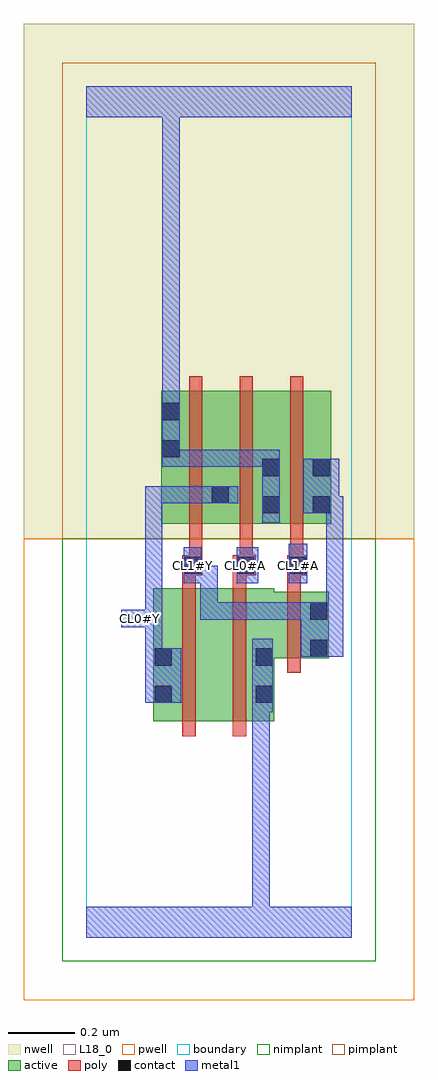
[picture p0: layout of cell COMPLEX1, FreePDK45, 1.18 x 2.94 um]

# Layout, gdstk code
import gdstk
lib = gdstk.Library(unit=1e-6, precision=1e-09)
def R(c, l, rs):  # rectangles x0, y0, x1, y1
    for r in rs: c.add(gdstk.rectangle(r[:2], r[2:], *l))
def A(c, l, x, y, w, h, nx, ny, dx, dy):  # array of equal rectangles
    R(c, l, [(x+i*dx, y+j*dy, x+i*dx+w, y+j*dy+h) for i in range(nx) for j in range(ny)])
active = (1, 0)
pwell = (2, 0)
nwell = (3, 0)
nimplant = (4, 0)
pimplant = (5, 0)
poly = (9, 0)
contact = (10, 0)
metal1 = (11, 0)
L18_0 = (18, 0)
boundary = (235, 0)

complex1 = lib.new_cell('COMPLEX1')
A(complex1, active, 0.374, 1.244, 0.06, 0.4, 3, 1, 0.152, 0)
R(complex1, active, [(0.202,0.65,0.386,1.05), (0.202,0.65,0.262,1.05), (0.386,0.65,0.566,1.05), (0.506,0.702,0.566,0.902), (0.506,0.84,0.73,1.04), (0.67,0.84,0.73,1.04), (0.226,1.244,0.286,1.644), (0.226,1.244,0.434,1.644), (0.374,1.244,0.586,1.644), (0.526,1.244,0.738,1.644)])
R(complex1, pwell, [(-0.188,-0.188,0.988,1.2)])
R(complex1, nwell, [(-0.188,1.2,0.988,2.748)])
R(complex1, nimplant, [(-0.072,-0.072,0.872,1.2)])
R(complex1, pimplant, [(-0.072,1.2,0.872,2.632)])
A(complex1, poly, 0.31, 1.11, 0.04, 0.13, 3, 1, 0.152, 0)
A(complex1, poly, 0.31, 1.2, 0.04, 0.488, 3, 1, 0.152, 0)
R(complex1, poly, [(0.29,0.606,0.33,1.094), (0.442,0.606,0.482,1.094), (0.606,0.796,0.646,1.084), (0.606,1.044,0.646,1.13), (0.29,1.054,0.33,1.13), (0.442,1.054,0.482,1.13), (0.29,1.09,0.35,1.15), (0.442,1.09,0.51,1.15), (0.606,1.09,0.666,1.15), (0.31,1.11,0.35,1.15), (0.31,1.11,0.35,1.15), (0.462,1.11,0.502,1.15), (0.462,1.11,0.502,1.15), (0.614,1.11,0.654,1.15), (0.614,1.11,0.654,1.15)])
R(complex1, contact, [(0.206,0.706,0.258,0.758), (0.51,0.706,0.562,0.758), (0.206,0.818,0.258,0.87), (0.51,0.818,0.562,0.87), (0.674,0.844,0.726,0.896), (0.674,0.956,0.726,1.008), (0.294,1.094,0.346,1.146), (0.454,1.094,0.506,1.146), (0.61,1.094,0.662,1.146), (0.53,1.276,0.582,1.328), (0.682,1.276,0.734,1.328), (0.378,1.306,0.43,1.358), (0.53,1.388,0.582,1.44), (0.682,1.388,0.734,1.44), (0.23,1.444,0.282,1.496), (0.23,1.556,0.282,1.608)])
R(complex1, metal1, [(0,0,0.8,0.092), (0.5,0.04,0.552,0.092), (0.5,0.04,0.552,0.092), (0.5,0.04,0.552,0.092), (0.5,0.04,0.552,0.092), (0.5,0.04,0.552,0.092), (0.5,0.04,0.552,0.092), (0.5,0.04,0.552,0.092), (0.5,0.04,0.552,0.092), (0.5,0.04,0.552,0.092), (0.5,0.04,0.552,0.092), (0.5,0.04,0.552,0.73), (0.5,0.678,0.552,0.73), (0.5,0.678,0.552,0.73), (0.5,0.678,0.562,0.898), (0.178,0.706,0.286,0.87), (0.178,0.818,0.23,0.986), (0.646,0.844,0.774,1.008), (0.106,0.934,0.23,0.986), (0.178,0.934,0.23,1.358), (0.344,0.956,0.396,1.008), (0.344,0.956,0.512,1.008), (0.344,0.956,0.396,1.118), (0.46,0.956,0.512,1.008), (0.46,0.956,0.512,1.008), (0.46,0.956,0.512,1.008), (0.46,0.956,0.698,1.008), (0.646,0.956,0.698,1.008), (0.646,0.956,0.698,1.008), (0.722,0.956,0.774,1.328), (0.294,1.066,0.396,1.118), (0.294,1.066,0.346,1.174), (0.344,1.066,0.396,1.118), (0.454,1.066,0.518,1.174), (0.61,1.066,0.666,1.184), (0.53,1.248,0.582,1.468), (0.654,1.276,0.762,1.44), (0.71,1.276,0.762,1.328), (0.71,1.276,0.774,1.328), (0.722,1.276,0.774,1.328), (0.722,1.276,0.774,1.328), (0.178,1.306,0.23,1.358), (0.178,1.306,0.23,1.358), (0.178,1.306,0.23,1.358), (0.178,1.306,0.402,1.358), (0.35,1.306,0.402,1.358), (0.35,1.306,0.402,1.358), (0.35,1.306,0.458,1.358), (0.23,1.416,0.282,1.636), (0.23,1.416,0.392,1.468), (0.34,1.416,0.392,1.468), (0.34,1.416,0.392,1.468), (0.34,1.416,0.392,1.468), (0.34,1.416,0.552,1.468), (0.5,1.416,0.552,1.468), (0.5,1.416,0.582,1.468), (0.23,1.584,0.282,1.636), (0.23,1.584,0.282,1.636), (0.23,1.584,0.282,1.636), (0.23,1.584,0.282,1.636), (0.23,1.584,0.282,1.636), (0.23,1.584,0.282,1.636), (0.23,1.584,0.282,1.636), (0.23,1.584,0.282,1.636), (0.23,1.584,0.282,1.636), (0.23,1.584,0.282,1.636), (0.23,1.584,0.282,1.636), (0.23,1.584,0.282,1.636), (0.23,1.584,0.282,1.636), (0.23,1.584,0.282,1.636), (0.23,1.584,0.282,2.52), (0,2.468,0.8,2.56), (0.23,2.468,0.282,2.52), (0.23,2.468,0.282,2.52)])
A(complex1, L18_0, 0.294, 1.094, 0.052, 0.052, 3, 1, 0.16, 0)
R(complex1, L18_0, [(0,0,0.8,0.092), (0.5,0.04,0.552,0.092), (0.5,0.04,0.552,0.092), (0.5,0.04,0.552,0.092), (0.5,0.04,0.552,0.092), (0.5,0.04,0.552,0.092), (0.5,0.04,0.552,0.092), (0.5,0.04,0.552,0.092), (0.5,0.04,0.552,0.092), (0.5,0.04,0.552,0.092), (0.5,0.04,0.552,0.092), (0.5,0.04,0.552,0.73), (0.5,0.678,0.552,0.73), (0.5,0.678,0.552,0.73), (0.5,0.678,0.562,0.898), (0.178,0.706,0.286,0.87), (0.178,0.818,0.23,0.986), (0.646,0.844,0.774,1.008), (0.106,0.934,0.23,0.986), (0.134,0.934,0.186,0.986), (0.178,0.934,0.23,1.358), (0.344,0.956,0.396,1.008), (0.344,0.956,0.396,1.118), (0.344,0.956,0.512,1.008), (0.46,0.956,0.512,1.008), (0.46,0.956,0.512,1.008), (0.46,0.956,0.512,1.008), (0.46,0.956,0.698,1.008), (0.646,0.956,0.698,1.008), (0.646,0.956,0.698,1.008), (0.722,0.956,0.774,1.328), (0.294,1.066,0.346,1.174), (0.294,1.066,0.396,1.118), (0.344,1.066,0.396,1.118), (0.454,1.066,0.518,1.174), (0.61,1.066,0.666,1.184), (0.53,1.248,0.582,1.468), (0.654,1.276,0.762,1.44), (0.71,1.276,0.762,1.328), (0.71,1.276,0.774,1.328), (0.722,1.276,0.774,1.328), (0.722,1.276,0.774,1.328), (0.178,1.306,0.23,1.358), (0.178,1.306,0.23,1.358), (0.178,1.306,0.23,1.358), (0.178,1.306,0.402,1.358), (0.35,1.306,0.402,1.358), (0.35,1.306,0.402,1.358), (0.35,1.306,0.458,1.358), (0.23,1.416,0.282,1.636), (0.23,1.416,0.392,1.468), (0.34,1.416,0.392,1.468), (0.34,1.416,0.392,1.468), (0.34,1.416,0.392,1.468), (0.34,1.416,0.552,1.468), (0.5,1.416,0.552,1.468), (0.5,1.416,0.582,1.468), (0.23,1.584,0.282,1.636), (0.23,1.584,0.282,1.636), (0.23,1.584,0.282,1.636), (0.23,1.584,0.282,1.636), (0.23,1.584,0.282,1.636), (0.23,1.584,0.282,1.636), (0.23,1.584,0.282,1.636), (0.23,1.584,0.282,1.636), (0.23,1.584,0.282,1.636), (0.23,1.584,0.282,1.636), (0.23,1.584,0.282,1.636), (0.23,1.584,0.282,1.636), (0.23,1.584,0.282,1.636), (0.23,1.584,0.282,1.636), (0.23,1.584,0.282,2.52), (0,2.468,0.8,2.56), (0.23,2.468,0.282,2.52), (0.23,2.468,0.282,2.52)])
R(complex1, boundary, [(0,0,0.8,2.56)])
complex1.add(gdstk.Label('CL0#A', (0.48,1.12), layer=11, texttype=0))
complex1.add(gdstk.Label('CL0#Y', (0.16,0.96), layer=11, texttype=0))
complex1.add(gdstk.Label('CL1#A', (0.64,1.12), layer=11, texttype=0))
complex1.add(gdstk.Label('CL1#Y', (0.32,1.12), layer=11, texttype=0))

lib.write_gds('COMPLEX1.gds')
